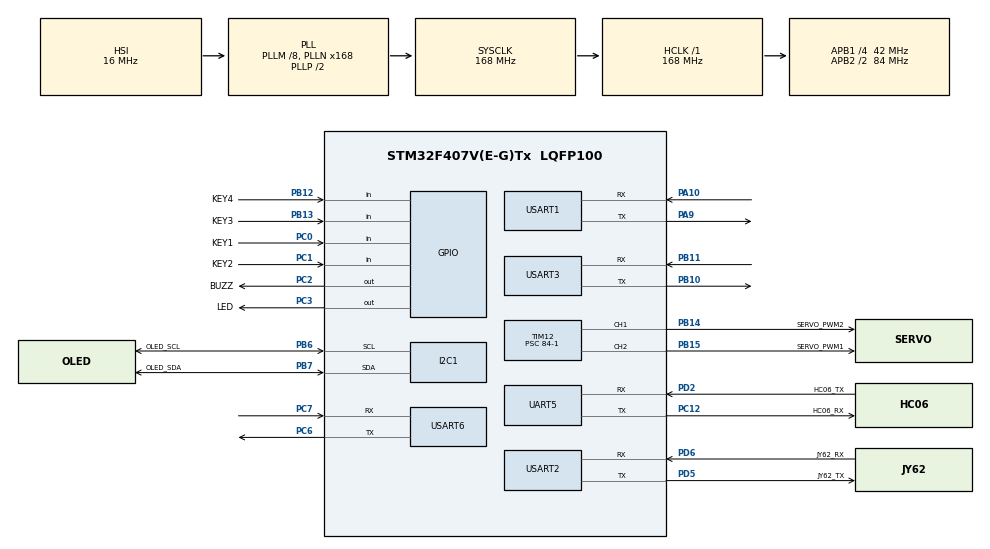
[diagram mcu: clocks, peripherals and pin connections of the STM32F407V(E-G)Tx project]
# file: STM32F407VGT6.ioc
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Dma.Request0=UART5_RX
Dma.Request1=UART5_TX
Dma.Request2=USART2_RX
Dma.Request3=USART2_TX
Dma.Request4=USART3_RX
Dma.Request5=USART3_TX
Dma.Request6=USART6_RX
Dma.Request7=USART6_TX
Dma.Request8=USART1_RX
Dma.Request9=USART1_TX
Dma.UART5_RX.0.Direction=DMA_PERIPH_TO_MEMORY
Dma.UART5_RX.0.FIFOMode=DMA_FIFOMODE_DISABLE
Dma.UART5_RX.0.Instance=DMA1_Stream0
Dma.UART5_RX.0.MemDataAlignment=DMA_MDATAALIGN_BYTE
Dma.UART5_RX.0.MemInc=DMA_MINC_ENABLE
Dma.UART5_RX.0.Mode=DMA_NORMAL
Dma.UART5_RX.0.PeriphDataAlignment=DMA_PDATAALIGN_BYTE
Dma.UART5_RX.0.PeriphInc=DMA_PINC_DISABLE
Dma.UART5_RX.0.Priority=DMA_PRIORITY_LOW
Dma.UART5_TX.1.Direction=DMA_MEMORY_TO_PERIPH
Dma.UART5_TX.1.FIFOMode=DMA_FIFOMODE_DISABLE
Dma.UART5_TX.1.Instance=DMA1_Stream7
Dma.UART5_TX.1.MemDataAlignment=DMA_MDATAALIGN_BYTE
Dma.UART5_TX.1.MemInc=DMA_MINC_ENABLE
Dma.UART5_TX.1.Mode=DMA_NORMAL
Dma.UART5_TX.1.PeriphDataAlignment=DMA_PDATAALIGN_BYTE
Dma.UART5_TX.1.PeriphInc=DMA_PINC_DISABLE
Dma.UART5_TX.1.Priority=DMA_PRIORITY_LOW
Dma.USART1_RX.8.Direction=DMA_PERIPH_TO_MEMORY
Dma.USART1_RX.8.FIFOMode=DMA_FIFOMODE_DISABLE
Dma.USART1_RX.8.Instance=DMA2_Stream2
Dma.USART1_RX.8.MemDataAlignment=DMA_MDATAALIGN_BYTE
Dma.USART1_RX.8.MemInc=DMA_MINC_ENABLE
Dma.USART1_RX.8.Mode=DMA_NORMAL
Dma.USART1_RX.8.PeriphDataAlignment=DMA_PDATAALIGN_BYTE
Dma.USART1_RX.8.PeriphInc=DMA_PINC_DISABLE
Dma.USART1_RX.8.Priority=DMA_PRIORITY_LOW
Dma.USART1_TX.9.Direction=DMA_MEMORY_TO_PERIPH
Dma.USART1_TX.9.FIFOMode=DMA_FIFOMODE_DISABLE
Dma.USART1_TX.9.Instance=DMA2_Stream7
Dma.USART1_TX.9.MemDataAlignment=DMA_MDATAALIGN_BYTE
Dma.USART1_TX.9.MemInc=DMA_MINC_ENABLE
Dma.USART1_TX.9.Mode=DMA_NORMAL
Dma.USART1_TX.9.PeriphDataAlignment=DMA_PDATAALIGN_BYTE
Dma.USART1_TX.9.PeriphInc=DMA_PINC_DISABLE
Dma.USART1_TX.9.Priority=DMA_PRIORITY_LOW
Dma.USART2_RX.2.Direction=DMA_PERIPH_TO_MEMORY
Dma.USART2_RX.2.FIFOMode=DMA_FIFOMODE_DISABLE
Dma.USART2_RX.2.Instance=DMA1_Stream5
Dma.USART2_RX.2.MemDataAlignment=DMA_MDATAALIGN_BYTE
Dma.USART2_RX.2.MemInc=DMA_MINC_ENABLE
Dma.USART2_RX.2.Mode=DMA_NORMAL
Dma.USART2_RX.2.PeriphDataAlignment=DMA_PDATAALIGN_BYTE
Dma.USART2_RX.2.PeriphInc=DMA_PINC_DISABLE
Dma.USART2_RX.2.Priority=DMA_PRIORITY_LOW
Dma.USART2_TX.3.Direction=DMA_MEMORY_TO_PERIPH
Dma.USART2_TX.3.FIFOMode=DMA_FIFOMODE_DISABLE
Dma.USART2_TX.3.Instance=DMA1_Stream6
Dma.USART2_TX.3.MemDataAlignment=DMA_MDATAALIGN_BYTE
Dma.USART2_TX.3.MemInc=DMA_MINC_ENABLE
Dma.USART2_TX.3.Mode=DMA_NORMAL
Dma.USART2_TX.3.PeriphDataAlignment=DMA_PDATAALIGN_BYTE
Dma.USART2_TX.3.PeriphInc=DMA_PINC_DISABLE
Dma.USART2_TX.3.Priority=DMA_PRIORITY_LOW
Dma.USART3_RX.4.Direction=DMA_PERIPH_TO_MEMORY
Dma.USART3_RX.4.FIFOMode=DMA_FIFOMODE_DISABLE
Dma.USART3_RX.4.Instance=DMA1_Stream1
Dma.USART3_RX.4.MemDataAlignment=DMA_MDATAALIGN_BYTE
Dma.USART3_RX.4.MemInc=DMA_MINC_ENABLE
Dma.USART3_RX.4.Mode=DMA_NORMAL
Dma.USART3_RX.4.PeriphDataAlignment=DMA_PDATAALIGN_BYTE
Dma.USART3_RX.4.PeriphInc=DMA_PINC_DISABLE
Dma.USART3_RX.4.Priority=DMA_PRIORITY_LOW
Dma.USART3_TX.5.Direction=DMA_MEMORY_TO_PERIPH
Dma.USART3_TX.5.FIFOMode=DMA_FIFOMODE_DISABLE
Dma.USART3_TX.5.Instance=DMA1_Stream3
Dma.USART3_TX.5.MemDataAlignment=DMA_MDATAALIGN_BYTE
Dma.USART3_TX.5.MemInc=DMA_MINC_ENABLE
Dma.USART3_TX.5.Mode=DMA_NORMAL
Dma.USART3_TX.5.PeriphDataAlignment=DMA_PDATAALIGN_BYTE
Dma.USART3_TX.5.PeriphInc=DMA_PINC_DISABLE
Dma.USART3_TX.5.Priority=DMA_PRIORITY_LOW
Dma.USART6_RX.6.Direction=DMA_PERIPH_TO_MEMORY
Dma.USART6_RX.6.FIFOMode=DMA_FIFOMODE_DISABLE
Dma.USART6_RX.6.Instance=DMA2_Stream1
Dma.USART6_RX.6.MemDataAlignment=DMA_MDATAALIGN_BYTE
Dma.USART6_RX.6.MemInc=DMA_MINC_ENABLE
Dma.USART6_RX.6.Mode=DMA_NORMAL
Dma.USART6_RX.6.PeriphDataAlignment=DMA_PDATAALIGN_BYTE
Dma.USART6_RX.6.PeriphInc=DMA_PINC_DISABLE
Dma.USART6_RX.6.Priority=DMA_PRIORITY_LOW
Dma.USART6_TX.7.Direction=DMA_MEMORY_TO_PERIPH
Dma.USART6_TX.7.FIFOMode=DMA_FIFOMODE_DISABLE
Dma.USART6_TX.7.Instance=DMA2_Stream6
Dma.USART6_TX.7.MemDataAlignment=DMA_MDATAALIGN_BYTE
Dma.USART6_TX.7.MemInc=DMA_MINC_ENABLE
Dma.USART6_TX.7.Mode=DMA_NORMAL
Dma.USART6_TX.7.PeriphDataAlignment=DMA_PDATAALIGN_BYTE
Dma.USART6_TX.7.PeriphInc=DMA_PINC_DISABLE
Dma.USART6_TX.7.Priority=DMA_PRIORITY_LOW
I2C1.I2C_Mode=I2C_Fast
Mcu.Family=STM32F4
Mcu.Name=STM32F407V(E-G)Tx
Mcu.Package=LQFP100
NVIC.DMA1_Stream0_IRQn=true\:0\:0\:false\:false\:true\:false\:true\:true
NVIC.DMA1_Stream1_IRQn=true\:0\:0\:false\:false\:true\:false\:true\:true
NVIC.DMA1_Stream3_IRQn=true\:0\:0\:false\:false\:true\:false\:true\:true
NVIC.DMA1_Stream5_IRQn=true\:0\:0\:false\:false\:true\:false\:true\:true
NVIC.DMA1_Stream6_IRQn=true\:0\:0\:false\:false\:true\:false\:true\:true
NVIC.DMA1_Stream7_IRQn=true\:0\:0\:false\:false\:true\:false\:true\:true
NVIC.DMA2_Stream1_IRQn=true\:0\:0\:false\:false\:true\:false\:true\:true
NVIC.DMA2_Stream2_IRQn=true\:0\:0\:false\:false\:true\:false\:true\:true
NVIC.DMA2_Stream6_IRQn=true\:0\:0\:false\:false\:true\:false\:true\:true
NVIC.DMA2_Stream7_IRQn=true\:0\:0\:false\:false\:true\:false\:true\:true
NVIC.PriorityGroup=NVIC_PRIORITYGROUP_4
NVIC.TIM7_IRQn=true\:1\:0\:true\:false\:true\:true\:true\:true
NVIC.TIM8_TRG_COM_TIM14_IRQn=true\:0\:0\:true\:false\:true\:true\:true\:true
NVIC.UART5_IRQn=true\:0\:0\:false\:false\:true\:true\:true\:true
NVIC.USART1_IRQn=true\:0\:0\:false\:false\:true\:true\:true\:true
NVIC.USART2_IRQn=true\:0\:0\:false\:false\:true\:true\:true\:true
NVIC.USART3_IRQn=true\:0\:0\:false\:false\:true\:true\:true\:true
NVIC.USART6_IRQn=true\:0\:0\:false\:false\:true\:true\:true\:true
PA10.Mode=Asynchronous
PA10.Signal=USART1_RX
PA13.Mode=Serial_Wire
PA13.Signal=SYS_JTMS-SWDIO
PA14.Mode=Serial_Wire
PA14.Signal=SYS_JTCK-SWCLK
PA9.Mode=Asynchronous
PA9.Signal=USART1_TX
PB10.Mode=Asynchronous
PB10.Signal=USART3_TX
PB11.Mode=Asynchronous
PB11.Signal=USART3_RX
PB12.GPIO_Label=KEY4
PB12.Signal=GPIO_Input
PB13.GPIO_Label=KEY3
PB13.Signal=GPIO_Input
PB14.GPIO_Label=SERVO_PWM2
PB14.Signal=S_TIM12_CH1
PB15.GPIO_Label=SERVO_PWM1
PB15.Signal=S_TIM12_CH2
PB6.GPIO_Label=OLED_SCL
PB6.Mode=I2C
PB6.Signal=I2C1_SCL
PB7.GPIO_Label=OLED_SDA
PB7.Mode=I2C
PB7.Signal=I2C1_SDA
PC0.GPIO_Label=KEY1
PC0.Signal=GPIO_Input
PC1.GPIO_Label=KEY2
PC1.Signal=GPIO_Input
PC12.GPIO_Label=HC06_RX
PC12.Mode=Asynchronous
PC12.Signal=UART5_TX
PC14-OSC32_IN.Mode=LSE-External-Oscillator
PC14-OSC32_IN.Signal=RCC_OSC32_IN
PC15-OSC32_OUT.Mode=LSE-External-Oscillator
PC15-OSC32_OUT.Signal=RCC_OSC32_OUT
PC2.GPIO_Label=BUZZ
PC2.PinState=GPIO_PIN_SET
PC2.Signal=GPIO_Output
PC3.GPIO_Label=LED
PC3.PinState=GPIO_PIN_SET
PC3.Signal=GPIO_Output
PC6.Mode=Asynchronous
PC6.Signal=USART6_TX
PC7.Mode=Asynchronous
PC7.Signal=USART6_RX
PD2.GPIO_Label=HC06_TX
PD2.Mode=Asynchronous
PD2.Signal=UART5_RX
PD5.GPIO_Label=JY62_TX
PD5.Mode=Asynchronous
PD5.Signal=USART2_TX
PD6.GPIO_Label=JY62_RX
PD6.Mode=Asynchronous
PD6.Signal=USART2_RX
PH0-OSC_IN.Mode=HSE-External-Oscillator
PH0-OSC_IN.Signal=RCC_OSC_IN
PH1-OSC_OUT.Mode=HSE-External-Oscillator
PH1-OSC_OUT.Signal=RCC_OSC_OUT
ProjectManager.HeapSize=0x200
ProjectManager.StackSize=0x400
ProjectManager.TargetToolchain=STM32CubeIDE
RCC.48MHZClocksFreq_Value=84000000
RCC.AHBFreq_Value=168000000
RCC.APB1CLKDivider=RCC_HCLK_DIV4
RCC.APB1Freq_Value=42000000
RCC.APB1TimFreq_Value=84000000
RCC.APB2CLKDivider=RCC_HCLK_DIV2
RCC.APB2Freq_Value=84000000
RCC.APB2TimFreq_Value=168000000
RCC.CortexFreq_Value=168000000
RCC.HCLKFreq_Value=168000000
RCC.HSE_VALUE=25000000
RCC.HSI_VALUE=16000000
RCC.PLLM=8
RCC.PLLN=168
RCC.SYSCLKFreq_VALUE=168000000
RCC.SYSCLKSource=RCC_SYSCLKSOURCE_PLLCLK
RCC.VCOOutputFreq_Value=336000000
SH.S_TIM12_CH1.0=TIM12_CH1,PWM Generation1 CH1
SH.S_TIM12_CH2.0=TIM12_CH2,PWM Generation2 CH2
TIM12.Channel-PWM\ Generation1\ CH1=TIM_CHANNEL_1
TIM12.Channel-PWM\ Generation2\ CH2=TIM_CHANNEL_2
TIM12.Period=20000-1
TIM12.Prescaler=84-1
TIM14.Period=8400-1
TIM14.Prescaler=3000-1
TIM2.Period=1000-1
TIM2.Prescaler=84-1
TIM7.Period=100-1
TIM7.Prescaler=8400-1
UART5.VirtualMode=Asynchronous
USART1.VirtualMode=VM_ASYNC
USART2.VirtualMode=VM_ASYNC
USART3.VirtualMode=VM_ASYNC
USART6.VirtualMode=VM_ASYNC
VP_TIM12_VS_ClockSourceINT.Mode=Internal
VP_TIM14_VS_ClockSourceINT.Mode=Enable_Timer
VP_TIM2_VS_ClockSourceINT.Mode=Internal
VP_TIM7_VS_ClockSourceINT.Mode=Enable_Timer
board=custom

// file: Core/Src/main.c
/* USER CODE BEGIN Header */
/**
  ******************************************************************************
  * @file           : main.c
  * @brief          : Main program body
  ******************************************************************************
  * @attention
  *
  * Copyright (c) 2025 STMicroelectronics.
  * All rights reserved.
  *
  * This software is licensed under terms that can be found in the LICENSE file
  * in the root directory of this software component.
  * If no LICENSE file comes with this software, it is provided AS-IS.
  *
  ******************************************************************************
  */
/* USER CODE END Header */
#include "main.h"
#include "dma.h"
#include "i2c.h"
#include "tim.h"
#include "usart.h"
#include "gpio.h"

/* USER CODE BEGIN Includes */
#include "stdio.h"
#include "string.h"
#include "define.h"
#include "jy62.h"
#include "oled.h"
#include "Angle_PID.h"
#include "servo.h"
#include "math.h"
/* USER CODE END Includes */

/* USER CODE BEGIN PV */

float Angle_PID_Kp=.6;
float Angle_PID_Ki=0.01;
float Angle_PID_Kd=0.1;
float Servo_PID_Kp=0.02;
float Servo_PID_Ki=0;
float Servo_PID_Kd=0.02;
float Servo2_PID_Kp=200;
float Servo2_PID_Ki=15;
float Servo2_PID_Kd=0.02;

    PID_Angle Angle_PID;
    PID_Servo Servo_PID_Down;
    PID_Servo Servo_PID_Up;
char message[255];
char RxBuffer[RXBUFFERSIZE];   //接受数据
char RxBuffer3[RXBUFFERSIZE];   //接受数据
char RxBuffer2[RXBUFFERSIZE];   //接受数据
char TxBuffer[TXBUFFERSIZE];   //发送数据
float RollX = 0;        //        滚转角
float PitchY = 0;        //        仰俯角
float YawZ = 0;        //       偏航角
uint8_t JY62_z_Zero[] = {0xFF, 0xAA, 0x52};    //数组来存储发送的z轴角度归零的数据

float servo_angle,servo_pwm,now_angle_down,now_angle_up,Angle_x=320,Angle_y=240;

/* USER CODE END PV */

void SystemClock_Config(void);

int main(void)
{

  /* USER CODE BEGIN 1 */

Angle_PID.target_val=0;
Servo_PID_Down.target_val=320;
Servo_PID_Up.target_val=240;

  /* USER CODE END 1 */

  /* MCU Configuration--------------------------------------------------------*/

  /* Reset of all peripherals, Initializes the Flash interface and the Systick. */
  HAL_Init();

  /* Configure the system clock */
  SystemClock_Config();

  /* Initialize all configured peripherals */
  MX_GPIO_Init();
  MX_DMA_Init();
  MX_USART2_UART_Init();
  MX_I2C1_Init();
  MX_USART3_UART_Init();
  MX_TIM12_Init();
  MX_TIM7_Init();
  MX_UART5_Init();
  MX_TIM2_Init();
  MX_USART6_UART_Init();
  MX_TIM14_Init();
  MX_USART1_UART_Init();
  /* USER CODE BEGIN 2 */
  /*USER Init BEGIN*/
  HAL_Delay(20);
  OLED_Init();

  PID_Angle_init(&Angle_PID, Angle_PID.target_val, Angle_PID_Kp, Angle_PID_Ki, Angle_PID_Kd);
  PID_Servo_init(&Servo_PID_Down, Servo_PID_Down.target_val, Servo2_PID_Kp, Servo2_PID_Ki, Servo2_PID_Kd);
  PID_Servo_init(&Servo_PID_Up, Servo_PID_Up.target_val, Servo_PID_Kp, Servo_PID_Ki, Servo_PID_Kd);
  /*USER Init END*/
  HAL_UARTEx_ReceiveToIdle_DMA(&huart2, (uint8_t *)RxBuffer,sizeof(RxBuffer));   //开启接受不定长
  HAL_UARTEx_ReceiveToIdle_DMA(&huart1, (uint8_t *)RxBuffer3,sizeof(RxBuffer3));   //开启接受不定长
  HAL_UARTEx_ReceiveToIdle_DMA(&huart3, (uint8_t *)RxBuffer2,sizeof(RxBuffer2));   //开启接受不定长
  __HAL_DMA_DISABLE_IT(huart2.hdmarx, DMA_IT_HT);          //关闭接受半中断
  __HAL_DMA_DISABLE_IT(huart3.hdmarx, DMA_IT_HT);          //关闭接受半中断
  __HAL_DMA_DISABLE_IT(huart1.hdmarx, DMA_IT_HT);          //关闭接受半中断

  HAL_UART_Transmit_DMA(&huart2, JY62_z_Zero, sizeof(JY62_z_Zero));

  HAL_TIM_PWM_Start(&htim12, TIM_CHANNEL_1);
  HAL_TIM_PWM_Start(&htim12, TIM_CHANNEL_2);

  HAL_TIM_Base_Start_IT(&htim7);
  HAL_TIM_Base_Start_IT(&htim14);

//  __HAL_TIM_SetCompare(&htim12,TIM_CHANNEL_2,1300);
//  __HAL_TIM_SetCompare(&htim12,TIM_CHANNEL_1,1000);

  /* USER CODE END 2 */

  /* Infinite loop */
  /* USER CODE BEGIN WHILE */
//	PID_Servo_realize(&Servo_PID_Down,Angle_x);
//	PID_Servo_realize(&Servo_PID_Up,Angle_y);
//	Set_Servo_Angle_Down(Get_Servo_Angle_Down()+Servo_PID_Down.output_val);
//	Set_Servo_Angle_Up(Get_Servo_Angle_Up()+Servo_PID_Up.output_val);
  Set_Servo_Angle(1, 90.0f,0);
  Set_Servo_Angle(0, 10.0f,1000);
  HAL_Delay(1000);

  while (1)
  {

  	OLED_NewFrame();
	 sprintf(message,"x:%.2f",Angle_x);
	 OLED_PrintString(1, 16, message, &font16x16, 0);
  sprintf(message,"y:%.2f",Angle_y);
	 OLED_PrintString(1, 32, message, &font16x16, 0);
	 sprintf(message,"speedr:%f",Servo_PID_Down.output_val);
	 OLED_PrintString(1, 48, message, &font16x16, 0);
	 OLED_ShowFrame();

    /* USER CODE END WHILE */

  }
}

void SystemClock_Config(void)
{
  RCC_OscInitTypeDef RCC_OscInitStruct = {0};
  RCC_ClkInitTypeDef RCC_ClkInitStruct = {0};

  /** Configure the main internal regulator output voltage
  */
  __HAL_RCC_PWR_CLK_ENABLE();
  __HAL_PWR_VOLTAGESCALING_CONFIG(PWR_REGULATOR_VOLTAGE_SCALE1);

  /** Initializes the RCC Oscillators according to the specified parameters
  * in the RCC_OscInitTypeDef structure.
  */
  RCC_OscInitStruct.OscillatorType = RCC_OSCILLATORTYPE_HSI;
  RCC_OscInitStruct.HSIState = RCC_HSI_ON;
  RCC_OscInitStruct.HSICalibrationValue = RCC_HSICALIBRATION_DEFAULT;
  RCC_OscInitStruct.PLL.PLLState = RCC_PLL_ON;
  RCC_OscInitStruct.PLL.PLLSource = RCC_PLLSOURCE_HSI;
  RCC_OscInitStruct.PLL.PLLM = 8;
  RCC_OscInitStruct.PLL.PLLN = 168;
  RCC_OscInitStruct.PLL.PLLP = RCC_PLLP_DIV2;
  RCC_OscInitStruct.PLL.PLLQ = 4;
  if (HAL_RCC_OscConfig(&RCC_OscInitStruct) != HAL_OK)
  {
    Error_Handler();
  }

  /** Initializes the CPU, AHB and APB buses clocks
  */
  RCC_ClkInitStruct.ClockType = RCC_CLOCKTYPE_HCLK|RCC_CLOCKTYPE_SYSCLK
                              |RCC_CLOCKTYPE_PCLK1|RCC_CLOCKTYPE_PCLK2;
  RCC_ClkInitStruct.SYSCLKSource = RCC_SYSCLKSOURCE_PLLCLK;
  RCC_ClkInitStruct.AHBCLKDivider = RCC_SYSCLK_DIV1;
  RCC_ClkInitStruct.APB1CLKDivider = RCC_HCLK_DIV4;
  RCC_ClkInitStruct.APB2CLKDivider = RCC_HCLK_DIV2;

  if (HAL_RCC_ClockConfig(&RCC_ClkInitStruct, FLASH_LATENCY_5) != HAL_OK)
  {
    Error_Handler();
  }
}

/* USER CODE BEGIN 4 */

void HAL_GPIO_EXTI_Callback(uint16_t GPIO_Pin){         //GPIO中断

}

void HAL_UARTEx_RxEventCallback(UART_HandleTypeDef *huart, uint16_t Size){ //串口接收中断
	if(huart==&huart1){
		memset(message, 0, sizeof(message));  // 整个数组
		 if (Size < sizeof(RxBuffer3)) {
		            RxBuffer3[Size] = '\0';  // 添加字符串结束符
		        } else {
		            RxBuffer3[sizeof(RxBuffer3) - 1] = '\0';  // 防止越界
		        }
//左边电机PID在线调参

		 if  (sscanf(RxBuffer3, "anglex %f,angley %f", &Angle_x,&Angle_y)== 2){
//
//		    	PID_Servo_realize(&Servo_PID_Down,Angle_x);
//		    	PID_Servo_realize(&Servo_PID_Up,Angle_y);
//		    	Set_Servo_Angle(1,Get_Servo_Angle_Up()+Servo_PID_Up.output_val,0.f);
//		    	Set_Servo_Angle(0,0.f,135+Servo_PID_Down.output_val);

         }

           //sprintf(message,"RECEIVE:%s\n",RxBuffer3);
           //HAL_UART_Transmit_DMA(&huart1, (uint8_t*)message, strlen(message));
           HAL_UARTEx_ReceiveToIdle_DMA(&huart1, (uint8_t *)RxBuffer3,sizeof(RxBuffer3));   //开启接受不定长
	}

	else if(huart==&huart2){  //接收JY62 数据中断
		if(RxBuffer[22]==0x55){
			if(RxBuffer[23]==0x53){
				RollX = (float)(((short)(RxBuffer[25]<<8)|RxBuffer[24])/32768.0*180);//处理数据，依据官方所给文档
				PitchY = (float)((short)((RxBuffer[27]<<8)|RxBuffer[26])/32768.0*180);
				YawZ = (float)((short)((RxBuffer[29]<<8)|RxBuffer[28])/32768.0*180);
			}
		}

		//sprintf(TxBuffer,"%.2f,%.2f,%.2f,%d,%d,%.2f,%.2f,%.2f,%.2f\n",
		//		RollX,PitchY,YawZ,speednow,speednow2,
		//		PIDL.target_val,PIDL.output_val,PIDR.target_val,PIDR.output_val);
		//sprintf(TxBuffer,"%.2f,%.2f,%.2f,%.2f\n",Servo_PID_Up.target_val,Angle_y,Servo_PID_Up.output_val,Servo_PID_Up.Error);
     //	HAL_UART_Transmit_DMA(&huart1, (uint8_t *)TxBuffer, strlen(TxBuffer));   //将数据通过串口一发送出去
		HAL_UARTEx_ReceiveToIdle_DMA(&huart2, (uint8_t *)RxBuffer,sizeof(RxBuffer));   //开启接受不定长
	}

	else if(huart==&huart3){
		memset(message, 0, sizeof(message));  // 整个数组
		 if (Size < sizeof(RxBuffer2)) {
		            RxBuffer2[Size] = '\0';  // 添加字符串结束符
		        } else {
		            RxBuffer2[sizeof(RxBuffer2) - 1] = '\0';  // 防止越界
		        }

//		HAL_UART_Transmit_DMA(&huart3, (uint8_t *)RxBuffer2, strlen(RxBuffer2));
		HAL_UARTEx_ReceiveToIdle_DMA(&huart3, (uint8_t *)RxBuffer2,sizeof(RxBuffer2));   //开启接受不定长

	}

}

void HAL_UART_TxCpltCallback(UART_HandleTypeDef *huart) {//处理数据发送完成后的操作
	if(huart==&huart1){

	}

	else if(huart == &huart2) {

	     memset(TxBuffer, 0, sizeof(TxBuffer));

  }
}

void HAL_TIM_PeriodElapsedCallback(TIM_HandleTypeDef *htim){
    if(htim==&htim14){
//
//    	PID_Servo_realize(&Servo_PID_Down,Angle_x);
//    	PID_Servo_realize(&Servo_PID_Up,Angle_y);
//    	Set_Servo_Angle(1,Get_Servo_Angle_Up()+Servo_PID_Up.output_val,0.f);
//    	Set_Servo_Angle(0,0.f,1500+Servo_PID_Down.output_val);
    }
    else if(htim==&htim7){

//
//        PID_Angle_realize(&Angle_PID,YawZ);

//        Set_motor_speedL(&PIDL,PIDL.target_val );
//        Set_motor_speedR(&PIDR,PIDR.target_val );
    //    -Trace_PID.output_val-Angle_PID.output_val
	//	+Trace_PID.output_val+Angle_PID.output_val

//偏左正输出负  偏右负

	}

}

/* USER CODE END 4 */

void Error_Handler(void)
{
  __disable_irq();
  while (1)
  {
  }
}
